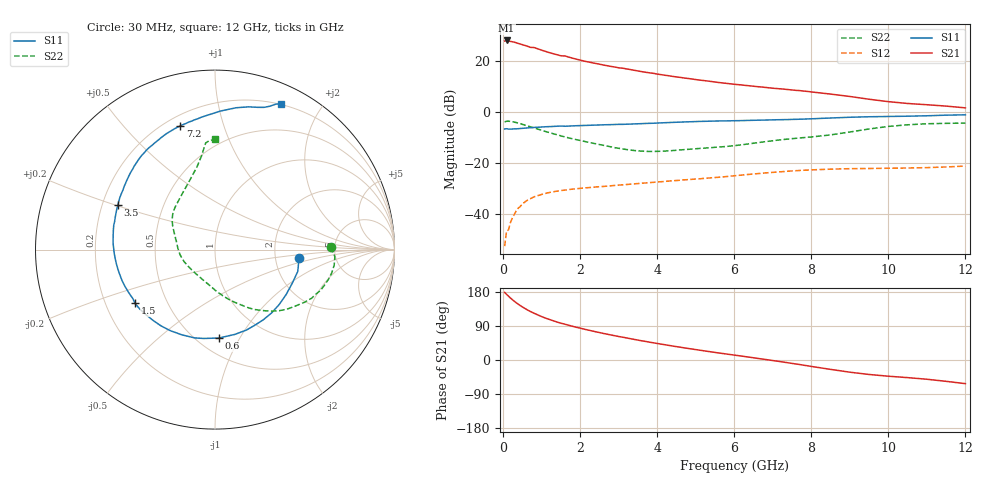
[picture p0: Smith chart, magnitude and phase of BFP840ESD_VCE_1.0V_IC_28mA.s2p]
! Infineon Technologies  Discrete & RF Semiconductors
! BFP840ESD
! VCE =  1.0 V,  IC =  28 mA
! Common Emitter S-Parameters:  May 2012
# GHz  S  MA  R  50
!  f  S11  S21  S12  S22
! GHz  MAG  ANG  MAG  ANG  MAG  ANG  MAG  ANG
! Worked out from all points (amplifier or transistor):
!   93 points, 30 MHz to 12 GHz, reference 50 ohm
!   highest |S21| = 28.1 dB at 80 MHz (marker M1)
!   |S21| within 3 dB of that: start of sweep to 841.5 MHz
!   unconditionally stable (mu >= 1): start of sweep to 281 MHz; 2.149 GHz to 11.75 GHz
!   at 1.1 GHz: K = 0.76, MSG = 27.8 dB, |S12| = -31.7 dB
!   at 4.2 GHz: K = 1.34, MAG = 17.3 dB, |S12| = -27.0 dB
!   at 12 GHz: K = 0.96, MSG = 11.4 dB, |S12| = -21.1 dB
!   S11 on the Smith chart (normalised r, x): 30 MHz: 2.73, -0.33; 600 MHz: 0.63, -0.82; 1.5 GHz: 0.33, -0.27; 3.5 GHz: 0.26, +0.20; 7.2 GHz: 0.26, +0.73; 12 GHz: 0.19, +1.54
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0.03  0.4705 -5.8  24.7 178.3  0.0024 44.8  0.6463 1.2
0.08  0.477 -14.8  25.42 173.3  0.0047 62.0  0.6691 -3.4
0.18  0.4688 -32.4  24.37 163.7  0.0069 63.5  0.6632 -11.3
0.33  0.4747 -55.4  22.91 151.1  0.0117 64.4  0.6304 -21.1
0.43  0.4812 -68.6  21.74 144.0  0.0142 60.7  0.6026 -26.7
0.6  0.4931 -87.5  19.86 133.5  0.0186 54.6  0.5464 -35.2
0.7  0.4991 -97.2  18.65 127.9  0.0204 52.1  0.5202 -39.7
0.8  0.5049 -103.0  18.46 123.2  0.0222 49.6  0.4942 -43.5
1  0.5156 -118.8  16.34 114.2  0.0248 45.1  0.442 -50.5
1.2  0.5243 -131.4  14.64 106.8  0.027 42.1  0.3996 -56.6
1.5  0.5374 -146.3  12.71 96.9  0.0294 37.6  0.344 -64.2
1.6  0.5329 -148.8  12.65 94.3  0.03 36.8  0.3293 -66.7
2.1  0.5521 -168.8  10.02 81.3  0.0332 33.6  0.2695 -78.2
2.7  0.5709 173.9  8.143 68.0  0.0359 31.4  0.218 -92.3
3.5  0.5959 155.4  6.419 52.4  0.0403 29.9  0.1757 -118.5
4.1  0.6201 143.5  5.441 41.8  0.0438 28.3  0.1728 -141.4
5  0.6587 130.1  4.36 27.4  0.0495 26.1  0.1935 -168.9
6.1  0.6854 118.2  3.472 11.5  0.0582 22.8  0.2271 164.9
7.2  0.7159 105.7  2.873 -4.4  0.0685 15.6  0.2887 145.6
8.5  0.7726 87.7  2.269 -24.8  0.0771 4.3  0.3611 120.3
10.5  0.838 71.0  1.486 -46.5  0.0812 -9.7  0.5689 96.2
12  0.8916 65.5  1.219 -62.4  0.0886 -16.5  0.6148 90.2
